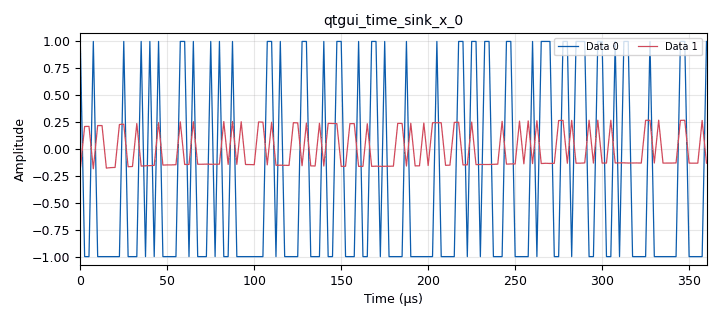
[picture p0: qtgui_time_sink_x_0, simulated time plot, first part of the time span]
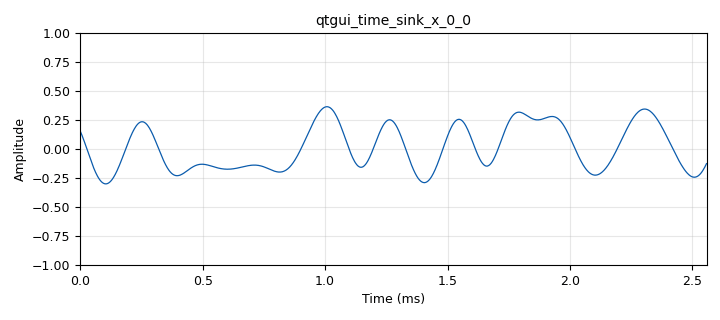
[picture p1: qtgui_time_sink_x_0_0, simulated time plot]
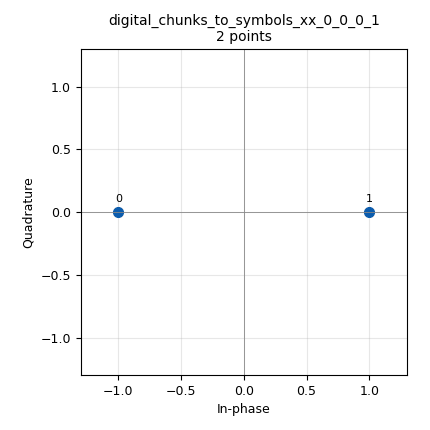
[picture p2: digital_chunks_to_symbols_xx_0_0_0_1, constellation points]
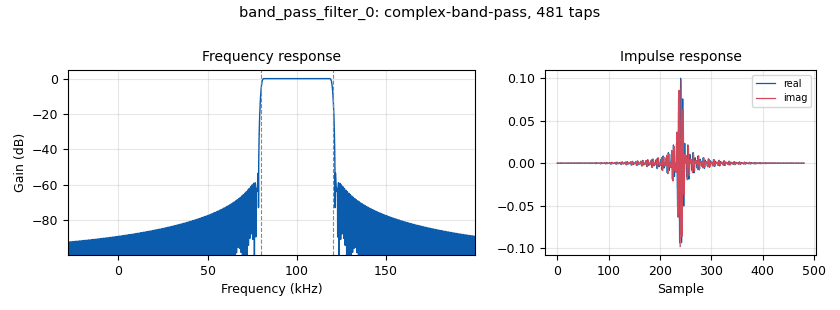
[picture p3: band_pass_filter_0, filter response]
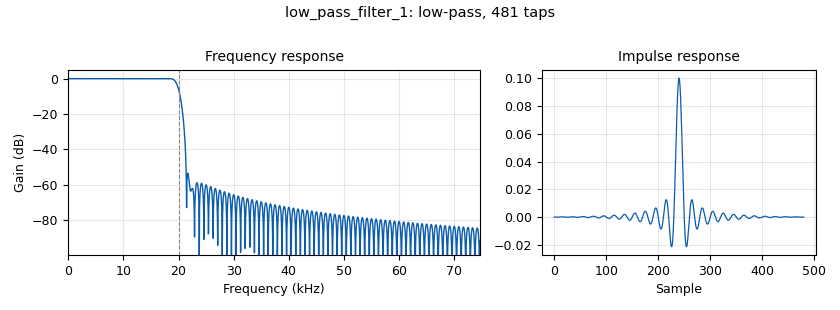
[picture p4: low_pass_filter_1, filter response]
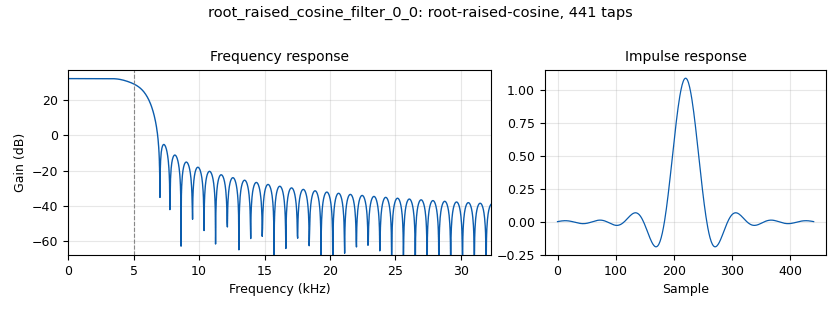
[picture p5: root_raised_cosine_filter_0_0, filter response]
<?xml version='1.0' encoding='utf-8'?>
<?grc format='1' created='3.7.14'?>
<flow_graph>
<block>
<key>options</key>
<param><key>id</key><value>top_block</value></param>
<param><key>author</key><value>Aaron Scher</value></param>
<param><key>description</key><value>This example shows the basics of frame syncing. </value></param>
<param><key>generate_options</key><value>qt_gui</value></param>
<param><key>title</key><value>Frame Sync Example</value></param>
</block>
<block>
<key>variable</key>
<param><key>id</key><value>samp_rate</value></param>
<param><key>value</key><value>400000</value></param>
</block>
<block>
<key>variable</key>
<param><key>id</key><value>sps</value></param>
<param><key>value</key><value>40</value></param>
</block>
<block>
<key>analog_const_source_x</key>
<param><key>id</key><value>analog_const_source_x_0</value></param>
<param><key>const</key><value>2</value></param>
<param><key>type</key><value>float</value></param>
</block>
<block>
<key>analog_const_source_x</key>
<param><key>id</key><value>analog_const_source_x_1</value></param>
<param><key>const</key><value>0</value></param>
<param><key>type</key><value>float</value></param>
</block>
<block>
<key>analog_sig_source_x</key>
<param><key>id</key><value>analog_sig_source_x_0</value></param>
<param><key>amp</key><value>1</value></param>
<param><key>freq</key><value>1e5</value></param>
<param><key>offset</key><value>0</value></param>
<param><key>type</key><value>float</value></param>
<param><key>samp_rate</key><value>samp_rate</value></param>
<param><key>waveform</key><value>analog.GR_COS_WAVE</value></param>
</block>
<block>
<key>band_pass_filter</key>
<param><key>id</key><value>band_pass_filter_0</value></param>
<param><key>decim</key><value>1</value></param>
<param><key>type</key><value>fir_filter_ccc</value></param>
<param><key>gain</key><value>1</value></param>
<param><key>high_cutoff_freq</key><value>120e3</value></param>
<param><key>low_cutoff_freq</key><value>80e3</value></param>
<param><key>samp_rate</key><value>samp_rate</value></param>
<param><key>width</key><value>2000</value></param>
<param><key>win</key><value>firdes.WIN_HAMMING</value></param>
</block>
<block>
<key>blocks_add_const_vxx</key>
<param><key>id</key><value>blocks_add_const_vxx_0</value></param>
<param><key>const</key><value>1.0</value></param>
<param><key>type</key><value>float</value></param>
</block>
<block>
<key>blocks_complex_to_mag</key>
<param><key>id</key><value>blocks_complex_to_mag_0</value></param>
</block>
<block>
<key>blocks_complex_to_real</key>
<param><key>id</key><value>blocks_complex_to_real_0</value></param>
</block>
<block>
<key>blocks_complex_to_real</key>
<param><key>id</key><value>blocks_complex_to_real_1</value></param>
</block>
<block>
<key>blocks_complex_to_real</key>
<param><key>id</key><value>blocks_complex_to_real_1_0</value></param>
</block>
<block>
<key>blocks_delay</key>
<param><key>id</key><value>blocks_delay_0</value></param>
<param><key>delay</key><value>10</value></param>
<param><key>_enabled</key><value>2</value></param>
<param><key>type</key><value>float</value></param>
</block>
<block>
<key>blocks_divide_xx</key>
<param><key>id</key><value>blocks_divide_xx_0</value></param>
<param><key>type</key><value>float</value></param>
</block>
<block>
<key>blocks_float_to_complex</key>
<param><key>id</key><value>blocks_float_to_complex_0</value></param>
</block>
<block>
<key>blocks_message_debug</key>
<param><key>id</key><value>blocks_message_debug_0</value></param>
<param><key>comment</key><value>Display the message that was sent.</value></param>
</block>
<block>
<key>blocks_message_strobe</key>
<param><key>id</key><value>blocks_message_strobe_0_0</value></param>
<param><key>comment</key><value>Generate hello world message</value></param>
<param><key>msg</key><value>pmt.cons(pmt.make_dict(), pmt.pmt_to_python.numpy_to_uvector(numpy.array([ord(c) for c in "Hello world! This is ECE 4114 Class, and My Name is  Ajani Blackwood."], numpy.uint8)))</value></param>
<param><key>period</key><value>500</value></param>
</block>
<block>
<key>blocks_multiply_const_vxx</key>
<param><key>id</key><value>blocks_multiply_const_vxx_0</value></param>
<param><key>const</key><value>0.8</value></param>
<param><key>type</key><value>float</value></param>
</block>
<block>
<key>blocks_multiply_xx</key>
<param><key>id</key><value>blocks_multiply_xx_0</value></param>
<param><key>type</key><value>float</value></param>
</block>
<block>
<key>blocks_null_sink</key>
<param><key>id</key><value>blocks_null_sink_0</value></param>
<param><key>bus_conns</key><value>[[0,],]</value></param>
<param><key>type</key><value>float</value></param>
</block>
<block>
<key>blocks_pdu_to_tagged_stream</key>
<param><key>id</key><value>blocks_pdu_to_tagged_stream_1</value></param>
<param><key>type</key><value>byte</value></param>
<param><key>tag</key><value>len_key</value></param>
</block>
<block>
<key>blocks_repack_bits_bb</key>
<param><key>id</key><value>blocks_repack_bits_bb_0_0</value></param>
<param><key>k</key><value>8</value></param>
<param><key>l</key><value>hdr_const.bits_per_symbol()</value></param>
<param><key>comment</key><value>Access code block up ahead needs 1 byte
per bit</value></param>
<param><key>endianness</key><value>gr.GR_MSB_FIRST</value></param>
<param><key>len_tag_key</key><value>len_key</value></param>
</block>
<block>
<key>blocks_repack_bits_bb</key>
<param><key>id</key><value>blocks_repack_bits_bb_0_0_0</value></param>
<param><key>k</key><value>1</value></param>
<param><key>l</key><value>8</value></param>
<param><key>comment</key><value>Tagged Stream to PDU block up ahead needs packed bytes</value></param>
<param><key>endianness</key><value>gr.GR_MSB_FIRST</value></param>
<param><key>len_tag_key</key><value>len_key2</value></param>
</block>
<block>
<key>blocks_tag_gate</key>
<param><key>id</key><value>blocks_tag_gate_0_0</value></param>
<param><key>comment</key><value>Simulate the "channel'... removes tags</value></param>
<param><key>_enabled</key><value>2</value></param>
<param><key>type</key><value>byte</value></param>
<param><key>propagate_tags</key><value>False</value></param>
</block>
<block>
<key>blocks_tagged_stream_mux</key>
<param><key>id</key><value>blocks_tagged_stream_mux_0</value></param>
<param><key>comment</key><value>Append header to payload</value></param>
<param><key>type</key><value>byte</value></param>
<param><key>lengthtagname</key><value>len_key</value></param>
<param><key>ninputs</key><value>2</value></param>
</block>
<block>
<key>blocks_tagged_stream_to_pdu</key>
<param><key>id</key><value>blocks_tagged_stream_to_pdu_0</value></param>
<param><key>type</key><value>byte</value></param>
<param><key>tag</key><value>len_key2</value></param>
</block>
<block>
<key>blocks_throttle</key>
<param><key>id</key><value>blocks_throttle_0</value></param>
<param><key>comment</key><value>Slow things down :)</value></param>
<param><key>samples_per_second</key><value>samp_rate</value></param>
<param><key>type</key><value>byte</value></param>
</block>
<block>
<key>blocks_throttle</key>
<param><key>id</key><value>blocks_throttle_1</value></param>
<param><key>samples_per_second</key><value>samp_rate</value></param>
<param><key>type</key><value>complex</value></param>
</block>
<block>
<key>channels_channel_model</key>
<param><key>id</key><value>channels_channel_model_0</value></param>
<param><key>_enabled</key><value>2</value></param>
<param><key>epsilon</key><value>1.0</value></param>
<param><key>freq_offset</key><value>0.0</value></param>
<param><key>noise_voltage</key><value>0.0</value></param>
<param><key>seed</key><value>0</value></param>
<param><key>taps</key><value>1.0 + 1.0j</value></param>
</block>
<block>
<key>dc_blocker_xx</key>
<param><key>id</key><value>dc_blocker_xx_0</value></param>
<param><key>length</key><value>32*sps</value></param>
<param><key>long_form</key><value>True</value></param>
<param><key>type</key><value>ff</value></param>
</block>
<block>
<key>digital_binary_slicer_fb</key>
<param><key>id</key><value>digital_binary_slicer_fb_0</value></param>
</block>
<block>
<key>digital_chunks_to_symbols_xx</key>
<param><key>id</key><value>digital_chunks_to_symbols_xx_0_0_0_1</value></param>
<param><key>comment</key><value>To display in time domain we map individual 
bits to (complex) symbols</value></param>
<param><key>dimension</key><value>1</value></param>
<param><key>in_type</key><value>byte</value></param>
<param><key>out_type</key><value>complex</value></param>
<param><key>symbol_table</key><value>hdr_const.points()</value></param>
</block>
<block>
<key>digital_clock_recovery_mm_xx</key>
<param><key>id</key><value>digital_clock_recovery_mm_xx_0</value></param>
<param><key>gain_mu</key><value>0.175</value></param>
<param><key>gain_omega</key><value>0.25*0.175*0.175</value></param>
<param><key>mu</key><value>0.5</value></param>
<param><key>omega_relative_limit</key><value>0.005</value></param>
<param><key>omega</key><value>sps</value></param>
<param><key>type</key><value>float</value></param>
</block>
<block>
<key>digital_correlate_access_code_xx_ts</key>
<param><key>id</key><value>digital_correlate_access_code_xx_ts_1</value></param>
<param><key>access_code</key><value>1111100110101010</value></param>
<param><key>comment</key><value>Correlates with access code to extract the payload.</value></param>
<param><key>type</key><value>byte</value></param>
<param><key>tagname</key><value>len_key2</value></param>
<param><key>threshold</key><value>0</value></param>
</block>
<block>
<key>digital_protocol_formatter_bb</key>
<param><key>id</key><value>digital_protocol_formatter_bb_0</value></param>
<param><key>comment</key><value>Generate header</value></param>
<param><key>format</key><value>hdr_format</value></param>
<param><key>len_tag_key</key><value>len_key</value></param>
</block>
<block>
<key>parameter</key>
<param><key>id</key><value>hdr_const</value></param>
<param><key>label</key><value>Header constellation</value></param>
<param><key>value</key><value>digital.constellation_calcdist((digital.psk_2()[0]), (digital.psk_2()[1]), 2, 1).base()</value></param>
</block>
<block>
<key>parameter</key>
<param><key>id</key><value>hdr_format</value></param>
<param><key>label</key><value>Header Formatter</value></param>
<param><key>value</key><value>digital.header_format_default('101010101010101010101010101010101111100110101010', 0)</value></param>
</block>
<block>
<key>import</key>
<param><key>id</key><value>import_0</value></param>
<param><key>import</key><value>import numpy</value></param>
</block>
<block>
<key>interp_fir_filter_xxx</key>
<param><key>id</key><value>interp_fir_filter_xxx_1</value></param>
<param><key>interp</key><value>sps</value></param>
<param><key>taps</key><value>1</value></param>
<param><key>type</key><value>ccc</value></param>
</block>
<block>
<key>low_pass_filter</key>
<param><key>id</key><value>low_pass_filter_1</value></param>
<param><key>cutoff_freq</key><value>20e3</value></param>
<param><key>decim</key><value>1</value></param>
<param><key>type</key><value>fir_filter_fff</value></param>
<param><key>gain</key><value>1</value></param>
<param><key>samp_rate</key><value>samp_rate</value></param>
<param><key>width</key><value>2000</value></param>
<param><key>win</key><value>firdes.WIN_HAMMING</value></param>
</block>
<block>
<key>qtgui_time_sink_x</key>
<param><key>id</key><value>qtgui_time_sink_x_0</value></param>
<param><key>color1</key><value>"blue"</value></param>
<param><key>label1</key><value></value></param>
<param><key>color2</key><value>"red"</value></param>
<param><key>label2</key><value></value></param>
<param><key>nconnections</key><value>2</value></param>
<param><key>size</key><value>1024</value></param>
<param><key>srate</key><value>samp_rate</value></param>
<param><key>type</key><value>float</value></param>
</block>
<block>
<key>qtgui_time_sink_x</key>
<param><key>id</key><value>qtgui_time_sink_x_0_0</value></param>
<param><key>color1</key><value>"blue"</value></param>
<param><key>label1</key><value></value></param>
<param><key>size</key><value>1024</value></param>
<param><key>srate</key><value>samp_rate</value></param>
<param><key>type</key><value>float</value></param>
</block>
<block>
<key>qtgui_time_sink_x</key>
<param><key>id</key><value>qtgui_time_sink_x_0_1_0</value></param>
<param><key>autoscale</key><value>True</value></param>
<param><key>comment</key><value>Display payloud in time domain</value></param>
<param><key>_enabled</key><value>0</value></param>
<param><key>color1</key><value>"blue"</value></param>
<param><key>label1</key><value></value></param>
<param><key>color2</key><value>"red"</value></param>
<param><key>label2</key><value></value></param>
<param><key>size</key><value>1024</value></param>
<param><key>srate</key><value>samp_rate</value></param>
<param><key>type</key><value>complex</value></param>
</block>
<block>
<key>qtgui_time_sink_x</key>
<param><key>id</key><value>qtgui_time_sink_x_0_1_0_0</value></param>
<param><key>autoscale</key><value>True</value></param>
<param><key>comment</key><value>Display payloud in time domain</value></param>
<param><key>_enabled</key><value>0</value></param>
<param><key>color1</key><value>"blue"</value></param>
<param><key>label1</key><value></value></param>
<param><key>size</key><value>1024</value></param>
<param><key>srate</key><value>samp_rate</value></param>
<param><key>type</key><value>float</value></param>
</block>
<block>
<key>root_raised_cosine_filter</key>
<param><key>id</key><value>root_raised_cosine_filter_0_0</value></param>
<param><key>alpha</key><value>.35</value></param>
<param><key>decim</key><value>1</value></param>
<param><key>type</key><value>fir_filter_ccf</value></param>
<param><key>gain</key><value>40</value></param>
<param><key>interp</key><value>sps</value></param>
<param><key>ntaps</key><value>11*sps</value></param>
<param><key>samp_rate</key><value>samp_rate</value></param>
<param><key>sym_rate</key><value>10e3</value></param>
</block>
<block>
<key>root_raised_cosine_filter</key>
<param><key>id</key><value>root_raised_cosine_filter_0_0_0</value></param>
<param><key>alpha</key><value>.35</value></param>
<param><key>decim</key><value>1</value></param>
<param><key>type</key><value>fir_filter_fff</value></param>
<param><key>gain</key><value>1</value></param>
<param><key>interp</key><value>sps</value></param>
<param><key>ntaps</key><value>11*sps</value></param>
<param><key>samp_rate</key><value>samp_rate</value></param>
<param><key>sym_rate</key><value>10000</value></param>
</block>
<connection><source_block_id>analog_const_source_x_0</source_block_id><sink_block_id>blocks_divide_xx_0</sink_block_id><source_key>0</source_key><sink_key>1</sink_key></connection>
<connection><source_block_id>analog_const_source_x_1</source_block_id><sink_block_id>blocks_float_to_complex_0</sink_block_id><source_key>0</source_key><sink_key>1</sink_key></connection>
<connection><source_block_id>analog_sig_source_x_0</source_block_id><sink_block_id>blocks_multiply_xx_0</sink_block_id><source_key>0</source_key><sink_key>1</sink_key></connection>
<connection><source_block_id>band_pass_filter_0</source_block_id><sink_block_id>channels_channel_model_0</sink_block_id><source_key>0</source_key><sink_key>0</sink_key></connection>
<connection><source_block_id>blocks_add_const_vxx_0</source_block_id><sink_block_id>blocks_multiply_xx_0</sink_block_id><source_key>0</source_key><sink_key>0</sink_key></connection>
<connection><source_block_id>blocks_complex_to_mag_0</source_block_id><sink_block_id>low_pass_filter_1</sink_block_id><source_key>0</source_key><sink_key>0</sink_key></connection>
<connection><source_block_id>blocks_complex_to_real_0</source_block_id><sink_block_id>blocks_multiply_const_vxx_0</sink_block_id><source_key>0</source_key><sink_key>0</sink_key></connection>
<connection><source_block_id>blocks_complex_to_real_1</source_block_id><sink_block_id>qtgui_time_sink_x_0</sink_block_id><source_key>0</source_key><sink_key>0</sink_key></connection>
<connection><source_block_id>blocks_complex_to_real_1_0</source_block_id><sink_block_id>blocks_null_sink_0</sink_block_id><source_key>0</source_key><sink_key>0</sink_key></connection>
<connection><source_block_id>blocks_delay_0</source_block_id><sink_block_id>digital_clock_recovery_mm_xx_0</sink_block_id><source_key>0</source_key><sink_key>0</sink_key></connection>
<connection><source_block_id>blocks_divide_xx_0</source_block_id><sink_block_id>blocks_add_const_vxx_0</sink_block_id><source_key>0</source_key><sink_key>0</sink_key></connection>
<connection><source_block_id>blocks_float_to_complex_0</source_block_id><sink_block_id>band_pass_filter_0</sink_block_id><source_key>0</source_key><sink_key>0</sink_key></connection>
<connection><source_block_id>blocks_float_to_complex_0</source_block_id><sink_block_id>blocks_complex_to_real_1_0</sink_block_id><source_key>0</source_key><sink_key>0</sink_key></connection>
<connection><source_block_id>blocks_message_strobe_0_0</source_block_id><sink_block_id>blocks_pdu_to_tagged_stream_1</sink_block_id><source_key>strobe</source_key><sink_key>pdus</sink_key></connection>
<connection><source_block_id>blocks_multiply_const_vxx_0</source_block_id><sink_block_id>blocks_divide_xx_0</sink_block_id><source_key>0</source_key><sink_key>0</sink_key></connection>
<connection><source_block_id>blocks_multiply_xx_0</source_block_id><sink_block_id>blocks_float_to_complex_0</sink_block_id><source_key>0</source_key><sink_key>0</sink_key></connection>
<connection><source_block_id>blocks_pdu_to_tagged_stream_1</source_block_id><sink_block_id>blocks_tagged_stream_mux_0</sink_block_id><source_key>0</source_key><sink_key>1</sink_key></connection>
<connection><source_block_id>blocks_pdu_to_tagged_stream_1</source_block_id><sink_block_id>digital_protocol_formatter_bb_0</sink_block_id><source_key>0</source_key><sink_key>0</sink_key></connection>
<connection><source_block_id>blocks_repack_bits_bb_0_0</source_block_id><sink_block_id>blocks_tag_gate_0_0</sink_block_id><source_key>0</source_key><sink_key>0</sink_key></connection>
<connection><source_block_id>blocks_repack_bits_bb_0_0_0</source_block_id><sink_block_id>blocks_tagged_stream_to_pdu_0</sink_block_id><source_key>0</source_key><sink_key>0</sink_key></connection>
<connection><source_block_id>blocks_tag_gate_0_0</source_block_id><sink_block_id>digital_chunks_to_symbols_xx_0_0_0_1</sink_block_id><source_key>0</source_key><sink_key>0</sink_key></connection>
<connection><source_block_id>blocks_tagged_stream_mux_0</source_block_id><sink_block_id>blocks_throttle_0</sink_block_id><source_key>0</source_key><sink_key>0</sink_key></connection>
<connection><source_block_id>blocks_tagged_stream_to_pdu_0</source_block_id><sink_block_id>blocks_message_debug_0</sink_block_id><source_key>pdus</source_key><sink_key>print</sink_key></connection>
<connection><source_block_id>blocks_throttle_0</source_block_id><sink_block_id>blocks_repack_bits_bb_0_0</sink_block_id><source_key>0</source_key><sink_key>0</sink_key></connection>
<connection><source_block_id>blocks_throttle_1</source_block_id><sink_block_id>root_raised_cosine_filter_0_0</sink_block_id><source_key>0</source_key><sink_key>0</sink_key></connection>
<connection><source_block_id>channels_channel_model_0</source_block_id><sink_block_id>blocks_complex_to_mag_0</sink_block_id><source_key>0</source_key><sink_key>0</sink_key></connection>
<connection><source_block_id>dc_blocker_xx_0</source_block_id><sink_block_id>root_raised_cosine_filter_0_0_0</sink_block_id><source_key>0</source_key><sink_key>0</sink_key></connection>
<connection><source_block_id>digital_binary_slicer_fb_0</source_block_id><sink_block_id>digital_correlate_access_code_xx_ts_1</sink_block_id><source_key>0</source_key><sink_key>0</sink_key></connection>
<connection><source_block_id>digital_chunks_to_symbols_xx_0_0_0_1</source_block_id><sink_block_id>blocks_complex_to_real_1</sink_block_id><source_key>0</source_key><sink_key>0</sink_key></connection>
<connection><source_block_id>digital_chunks_to_symbols_xx_0_0_0_1</source_block_id><sink_block_id>interp_fir_filter_xxx_1</sink_block_id><source_key>0</source_key><sink_key>0</sink_key></connection>
<connection><source_block_id>digital_clock_recovery_mm_xx_0</source_block_id><sink_block_id>digital_binary_slicer_fb_0</sink_block_id><source_key>0</source_key><sink_key>0</sink_key></connection>
<connection><source_block_id>digital_clock_recovery_mm_xx_0</source_block_id><sink_block_id>qtgui_time_sink_x_0</sink_block_id><source_key>0</source_key><sink_key>1</sink_key></connection>
<connection><source_block_id>digital_correlate_access_code_xx_ts_1</source_block_id><sink_block_id>blocks_repack_bits_bb_0_0_0</sink_block_id><source_key>0</source_key><sink_key>0</sink_key></connection>
<connection><source_block_id>digital_protocol_formatter_bb_0</source_block_id><sink_block_id>blocks_tagged_stream_mux_0</sink_block_id><source_key>0</source_key><sink_key>0</sink_key></connection>
<connection><source_block_id>interp_fir_filter_xxx_1</source_block_id><sink_block_id>blocks_throttle_1</sink_block_id><source_key>0</source_key><sink_key>0</sink_key></connection>
<connection><source_block_id>low_pass_filter_1</source_block_id><sink_block_id>dc_blocker_xx_0</sink_block_id><source_key>0</source_key><sink_key>0</sink_key></connection>
<connection><source_block_id>root_raised_cosine_filter_0_0</source_block_id><sink_block_id>blocks_complex_to_real_0</sink_block_id><source_key>0</source_key><sink_key>0</sink_key></connection>
<connection><source_block_id>root_raised_cosine_filter_0_0_0</source_block_id><sink_block_id>blocks_delay_0</sink_block_id><source_key>0</source_key><sink_key>0</sink_key></connection>
<connection><source_block_id>root_raised_cosine_filter_0_0_0</source_block_id><sink_block_id>qtgui_time_sink_x_0_0</sink_block_id><source_key>0</source_key><sink_key>0</sink_key></connection>
</flow_graph>
